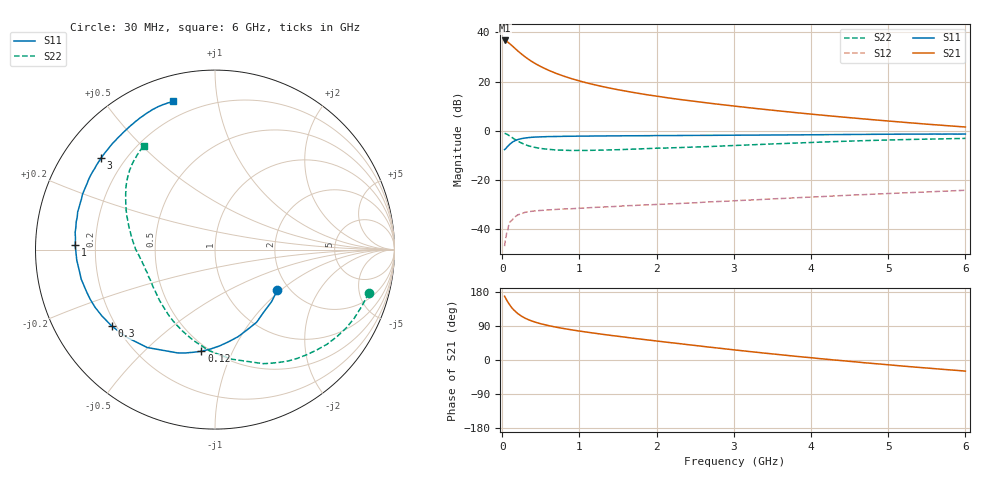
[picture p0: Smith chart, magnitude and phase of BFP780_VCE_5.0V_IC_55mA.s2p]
! Infineon Technologies  Discrete & RF Semiconductors
! BFP780
! VCE =  5.0 V,  IC =  55 mA
! Common Emitter S-Parameters:  Jul 2015
# GHz  S  MA  R  50
!  f  S11  S21  S12  S22
! GHz  MAG  ANG  MAG  ANG  MAG  ANG  MAG  ANG
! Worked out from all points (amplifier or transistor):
!   75 points, 30 MHz to 6 GHz, reference 50 ohm
!   highest |S21| = 36.8 dB at 30 MHz (marker M1)
!   |S21| within 3 dB of that: start of sweep to 156.6 MHz
!   unconditionally stable (mu >= 1): 1.867 GHz to end of sweep
!   at 150 MHz: K = 0.20, MSG = 34.6 dB, |S12| = -35.3 dB
!   at 2.3 GHz: K = 1.11, MAG = 19.1 dB, |S12| = -29.6 dB
!   at 6 GHz: K = 1.20, MAG = 10.2 dB, |S12| = -24.2 dB
!   S11 on the Smith chart (normalised r, x): 30 MHz: 1.73, -0.95; 120 MHz: 0.46, -0.77; 300 MHz: 0.18, -0.32; 1 GHz: 0.12, +0.02; 3 GHz: 0.11, +0.35; 6 GHz: 0.12, +0.75
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0.03  0.4147 -33.2  68.87 168.3  0.0045 56.4  0.8905 -15.8
0.05  0.4424 -52.4  66.65 160.5  0.0071 50.6  0.8647 -26.3
0.07  0.4806 -67.8  63.75 153.6  0.0095 56.4  0.8348 -35.5
0.09  0.5189 -81.6  60.34 147.2  0.0128 50.1  0.7964 -44.6
0.12  0.5713 -97.6  54.97 138.8  0.015 49.6  0.7427 -56.7
0.15  0.6122 -109.9  49.82 131.9  0.0171 44.4  0.6898 -67.1
0.2  0.6636 -124.7  42.3 122.6  0.0195 37.3  0.6165 -81.7
0.25  0.6939 -135.4  36.35 115.5  0.0206 33.6  0.5633 -93.5
0.3  0.7156 -143.4  31.55 109.9  0.0221 30.1  0.5205 -103.3
0.35  0.7305 -149.6  27.77 105.4  0.0227 27.7  0.4897 -111.4
0.4  0.7417 -154.4  24.73 101.7  0.0233 26.5  0.468 -118.1
0.5  0.7533 -161.9  20.21 95.6  0.024 23.2  0.4368 -129.0
0.7  0.7662 -172.0  14.67 86.5  0.0252 21.5  0.4074 -144.0
1  0.7797 178.1  10.34 76.4  0.0266 21.5  0.3995 -157.7
1.1  0.7798 175.4  9.38 73.4  0.0271 21.9  0.3987 -161.2
1.5  0.7887 166.7  6.85 62.6  0.0291 23.3  0.4125 -171.1
2.1  0.8002 155.8  4.799 47.7  0.0322 24.5  0.4454 178.5
3  0.8142 141.2  3.194 26.8  0.0377 25.4  0.502 163.8
3.1  0.8157 139.7  3.066 24.6  0.0384 25.1  0.5095 162.2
4.1  0.8327 125.6  2.113 3.9  0.0456 24.1  0.5868 148.0
5.1  0.8542 114.2  1.537 -14.4  0.0537 20.3  0.6559 135.6
6  0.8587 106.0  1.194 -29.3  0.0617 15.3  0.7011 124.6
